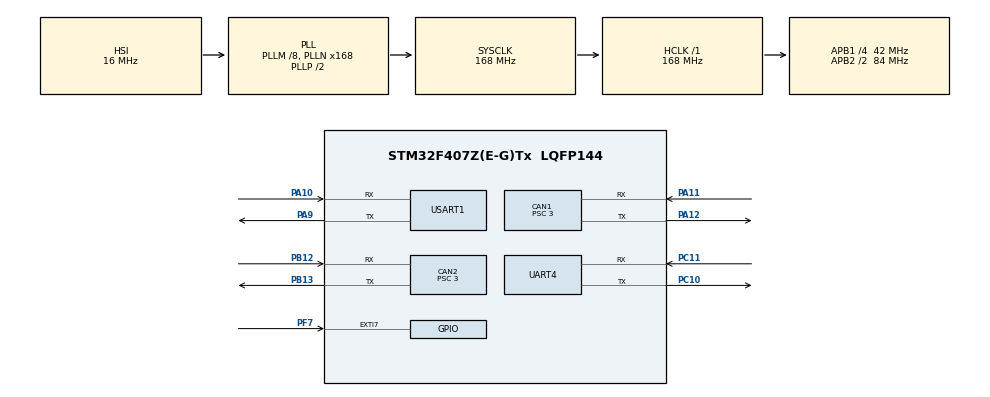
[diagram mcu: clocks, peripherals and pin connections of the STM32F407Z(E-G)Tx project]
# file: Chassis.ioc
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CAN1.ABOM=ENABLE
CAN1.BS1=CAN_BS1_9TQ
CAN1.BS2=CAN_BS2_4TQ
CAN1.CalculateBaudRate=1000000
CAN1.CalculateTimeBit=1000
CAN1.CalculateTimeQuantum=71.42857142857143
CAN1.Prescaler=3
CAN2.ABOM=ENABLE
CAN2.BS1=CAN_BS1_9TQ
CAN2.BS2=CAN_BS2_4TQ
CAN2.CalculateBaudRate=1000000
CAN2.CalculateTimeBit=1000
CAN2.CalculateTimeQuantum=71.42857142857143
CAN2.Prescaler=3
FREERTOS.Tasks01=Motor,24,512,Motor_Task,Default,NULL,Dynamic,NULL,NULL;Chassis,16,512,Chassis_Task,Default,NULL,Dynamic,NULL,NULL;Move,8,512,Move_Task,Default,NULL,Dynamic,NULL,NULL
Mcu.Family=STM32F4
Mcu.Name=STM32F407Z(E-G)Tx
Mcu.Package=LQFP144
NVIC.CAN1_RX0_IRQn=true\:5\:0\:false\:false\:true\:true\:true\:true\:true
NVIC.CAN2_RX0_IRQn=true\:5\:0\:false\:false\:true\:true\:true\:true\:true
NVIC.EXTI9_5_IRQn=true\:5\:0\:false\:false\:true\:true\:true\:true\:true
NVIC.PriorityGroup=NVIC_PRIORITYGROUP_4
NVIC.TIM2_IRQn=true\:0\:0\:false\:false\:true\:false\:true\:true\:true
NVIC.TIM3_IRQn=true\:15\:0\:false\:false\:true\:false\:false\:true\:true
NVIC.TimeBase=TIM3_IRQn
NVIC.TimeBaseIP=TIM3
NVIC.UART4_IRQn=true\:0\:0\:false\:false\:true\:false\:true\:true\:true
NVIC.USART1_IRQn=true\:0\:0\:false\:false\:true\:false\:true\:true\:true
PA10.Mode=Asynchronous
PA10.Signal=USART1_RX
PA11.Mode=CAN_Activate
PA11.Signal=CAN1_RX
PA12.Mode=CAN_Activate
PA12.Signal=CAN1_TX
PA13.Mode=Serial_Wire
PA13.Signal=SYS_JTMS-SWDIO
PA14.Mode=Serial_Wire
PA14.Signal=SYS_JTCK-SWCLK
PA9.Mode=Asynchronous
PA9.Signal=USART1_TX
PB12.Mode=CAN_Activate
PB12.Signal=CAN2_RX
PB13.Mode=CAN_Activate
PB13.Signal=CAN2_TX
PC10.Mode=Asynchronous
PC10.Signal=UART4_TX
PC11.Mode=Asynchronous
PC11.Signal=UART4_RX
PC14-OSC32_IN.Mode=LSE-External-Oscillator
PC14-OSC32_IN.Signal=RCC_OSC32_IN
PC15-OSC32_OUT.Mode=LSE-External-Oscillator
PC15-OSC32_OUT.Signal=RCC_OSC32_OUT
PF7.Signal=GPXTI7
PH0-OSC_IN.Mode=HSE-External-Oscillator
PH0-OSC_IN.Signal=RCC_OSC_IN
PH1-OSC_OUT.Mode=HSE-External-Oscillator
PH1-OSC_OUT.Signal=RCC_OSC_OUT
ProjectManager.HeapSize=0x200
ProjectManager.StackSize=0x400
ProjectManager.TargetToolchain=MDK-ARM V5.32
RCC.48MHZClocksFreq_Value=84000000
RCC.AHBFreq_Value=168000000
RCC.APB1CLKDivider=RCC_HCLK_DIV4
RCC.APB1Freq_Value=42000000
RCC.APB1TimFreq_Value=84000000
RCC.APB2CLKDivider=RCC_HCLK_DIV2
RCC.APB2Freq_Value=84000000
RCC.APB2TimFreq_Value=168000000
RCC.CortexFreq_Value=168000000
RCC.HCLKFreq_Value=168000000
RCC.HSE_VALUE=25000000
RCC.HSI_VALUE=16000000
RCC.PLLM=8
RCC.PLLN=168
RCC.SYSCLKFreq_VALUE=168000000
RCC.SYSCLKSource=RCC_SYSCLKSOURCE_PLLCLK
RCC.VCOOutputFreq_Value=336000000
TIM2.Period=100000
TIM2.Prescaler=83
UART4.VirtualMode=Asynchronous
USART1.VirtualMode=VM_ASYNC
VP_FREERTOS_VS_CMSIS_V2.Mode=CMSIS_V2
VP_SYS_VS_tim3.Mode=TIM3
VP_TIM2_VS_ClockSourceINT.Mode=Internal
board=custom

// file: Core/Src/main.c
/* USER CODE BEGIN Header */
/**
  ******************************************************************************
  * @file           : main.c
  * @brief          : Main program body
  ******************************************************************************
  * @attention
  *
  * Copyright (c) 2024 STMicroelectronics.
  * All rights reserved.
  *
  * This software is licensed under terms that can be found in the LICENSE file
  * in the root directory of this software component.
  * If no LICENSE file comes with this software, it is provided AS-IS.
  *
  ******************************************************************************
  */
/* USER CODE END Header */
#include "main.h"
#include "cmsis_os.h"
#include "can.h"
#include "tim.h"
#include "usart.h"
#include "gpio.h"

void SystemClock_Config(void);
void MX_FREERTOS_Init(void);

int main(void)
{

  /* MCU Configuration--------------------------------------------------------*/

  /* Reset of all peripherals, Initializes the Flash interface and the Systick. */
  HAL_Init();

  /* Configure the system clock */
  SystemClock_Config();

  /* Initialize all configured peripherals */
  MX_GPIO_Init();
  MX_CAN1_Init();
  MX_CAN2_Init();
  MX_TIM2_Init();
  MX_UART4_Init();
  MX_USART1_UART_Init();
  /* USER CODE BEGIN 2 */
  HAL_TIM_Base_Start_IT(&htim2);//初始化定时器2

  uint8_t USART_Receiver1;
  HAL_UART_Receive_IT(&huart4,&USART_Receiver1,1);//初始化action

  can_filter_init();
  can1_config();
  can2_config();
  /* USER CODE END 2 */

  /* Init scheduler */
  osKernelInitialize();  /* Call init function for freertos objects (in freertos.c) */
  MX_FREERTOS_Init();

  /* Start scheduler */
  osKernelStart();

  /* We should never get here as control is now taken by the scheduler */
  /* Infinite loop */
  while (1)
  {

  }
}

void SystemClock_Config(void)
{
  RCC_OscInitTypeDef RCC_OscInitStruct = {0};
  RCC_ClkInitTypeDef RCC_ClkInitStruct = {0};

  /** Configure the main internal regulator output voltage
  */
  __HAL_RCC_PWR_CLK_ENABLE();
  __HAL_PWR_VOLTAGESCALING_CONFIG(PWR_REGULATOR_VOLTAGE_SCALE1);

  /** Initializes the RCC Oscillators according to the specified parameters
  * in the RCC_OscInitTypeDef structure.
  */
  RCC_OscInitStruct.OscillatorType = RCC_OSCILLATORTYPE_HSI;
  RCC_OscInitStruct.HSIState = RCC_HSI_ON;
  RCC_OscInitStruct.HSICalibrationValue = RCC_HSICALIBRATION_DEFAULT;
  RCC_OscInitStruct.PLL.PLLState = RCC_PLL_ON;
  RCC_OscInitStruct.PLL.PLLSource = RCC_PLLSOURCE_HSI;
  RCC_OscInitStruct.PLL.PLLM = 8;
  RCC_OscInitStruct.PLL.PLLN = 168;
  RCC_OscInitStruct.PLL.PLLP = RCC_PLLP_DIV2;
  RCC_OscInitStruct.PLL.PLLQ = 4;
  if (HAL_RCC_OscConfig(&RCC_OscInitStruct) != HAL_OK)
  {
    Error_Handler();
  }

  /** Initializes the CPU, AHB and APB buses clocks
  */
  RCC_ClkInitStruct.ClockType = RCC_CLOCKTYPE_HCLK|RCC_CLOCKTYPE_SYSCLK
                              |RCC_CLOCKTYPE_PCLK1|RCC_CLOCKTYPE_PCLK2;
  RCC_ClkInitStruct.SYSCLKSource = RCC_SYSCLKSOURCE_PLLCLK;
  RCC_ClkInitStruct.AHBCLKDivider = RCC_SYSCLK_DIV1;
  RCC_ClkInitStruct.APB1CLKDivider = RCC_HCLK_DIV4;
  RCC_ClkInitStruct.APB2CLKDivider = RCC_HCLK_DIV2;

  if (HAL_RCC_ClockConfig(&RCC_ClkInitStruct, FLASH_LATENCY_5) != HAL_OK)
  {
    Error_Handler();
  }
}

void HAL_TIM_PeriodElapsedCallback(TIM_HandleTypeDef *htim)
{
  /* USER CODE BEGIN Callback 0 */
  if (htim->Instance == TIM2)
  {
      LAST_TIME_ISR_CNT = TIME_ISR_CNT;
      TIME_ISR_CNT++;
      Microsecond_Cnt++;
      if (Microsecond_Cnt >= 100)
      {
      Microsecond_Cnt = 0;
      Time_Sys[Second]++;
      if (Time_Sys[Second] >= 60)
      {
          Time_Sys[Second] = 0;
          Time_Sys[Minute]++;
          if (Time_Sys[Minute] >= 60)
          {
          Time_Sys[Minute] = 0;
          Time_Sys[Hour]++;
          }
      }
      }
      Time_Sys[MicroSecond] = Microsecond_Cnt;
  }
  /* USER CODE END Callback 0 */
  if (htim->Instance == TIM3) {
    HAL_IncTick();
  }
}

void Error_Handler(void)
{
  __disable_irq();
  while (1)
  {
  }
}

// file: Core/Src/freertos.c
/* USER CODE BEGIN Header */
/**
  ******************************************************************************
  * File Name          : freertos.c
  * Description        : Code for freertos applications
  ******************************************************************************
  * @attention
  *
  * Copyright (c) 2024 STMicroelectronics.
  * All rights reserved.
  *
  * This software is licensed under terms that can be found in the LICENSE file
  * in the root directory of this software component.
  * If no LICENSE file comes with this software, it is provided AS-IS.
  *
  ******************************************************************************
  */
/* USER CODE END Header */

#include "FreeRTOS.h"
#include "task.h"
#include "main.h"
#include "cmsis_os.h"

/* Definitions for Motor */
osThreadId_t MotorHandle;
const osThreadAttr_t Motor_attributes = {
  .name = "Motor",
  .stack_size = 512 * 4,
  .priority = (osPriority_t) osPriorityNormal,
};
/* Definitions for Chassis */
osThreadId_t ChassisHandle;
const osThreadAttr_t Chassis_attributes = {
  .name = "Chassis",
  .stack_size = 512 * 4,
  .priority = (osPriority_t) osPriorityBelowNormal,
};
/* Definitions for Move */
osThreadId_t MoveHandle;
const osThreadAttr_t Move_attributes = {
  .name = "Move",
  .stack_size = 512 * 4,
  .priority = (osPriority_t) osPriorityLow,
};

void Motor_Task(void *argument);
void Chassis_Task(void *argument);
void Move_Task(void *argument);

void MX_FREERTOS_Init(void); /* (MISRA C 2004 rule 8.1) */

void MX_FREERTOS_Init(void) {

  /* Create the thread(s) */
  /* creation of Motor */
  MotorHandle = osThreadNew(Motor_Task, NULL, &Motor_attributes);

  /* creation of Chassis */
  ChassisHandle = osThreadNew(Chassis_Task, NULL, &Chassis_attributes);

  /* creation of Move */
  MoveHandle = osThreadNew(Move_Task, NULL, &Move_attributes);

}

void Motor_Task(void *argument)
{
  /* USER CODE BEGIN Motor_Task */
  /* Infinite loop */
  for(;;)
  {
    Motor_Control();
    osDelay(1);
  }
  /* USER CODE END Motor_Task */
}

void Chassis_Task(void *argument)
{
  /* USER CODE BEGIN Chassis_Task */
  /* Infinite loop */
  for(;;)
  {
    Free_Control();
    Robot_Wheels_RPM_calculate();
    osDelay(1);
  }
  /* USER CODE END Chassis_Task */
}

void Move_Task(void *argument)
{
  /* USER CODE BEGIN Move_Task */
  /* Infinite loop */
  for(;;)
  {
    //路径规划，可以直接switch case判断路径状态机
    osDelay(1);
  }
  /* USER CODE END Move_Task */
}
